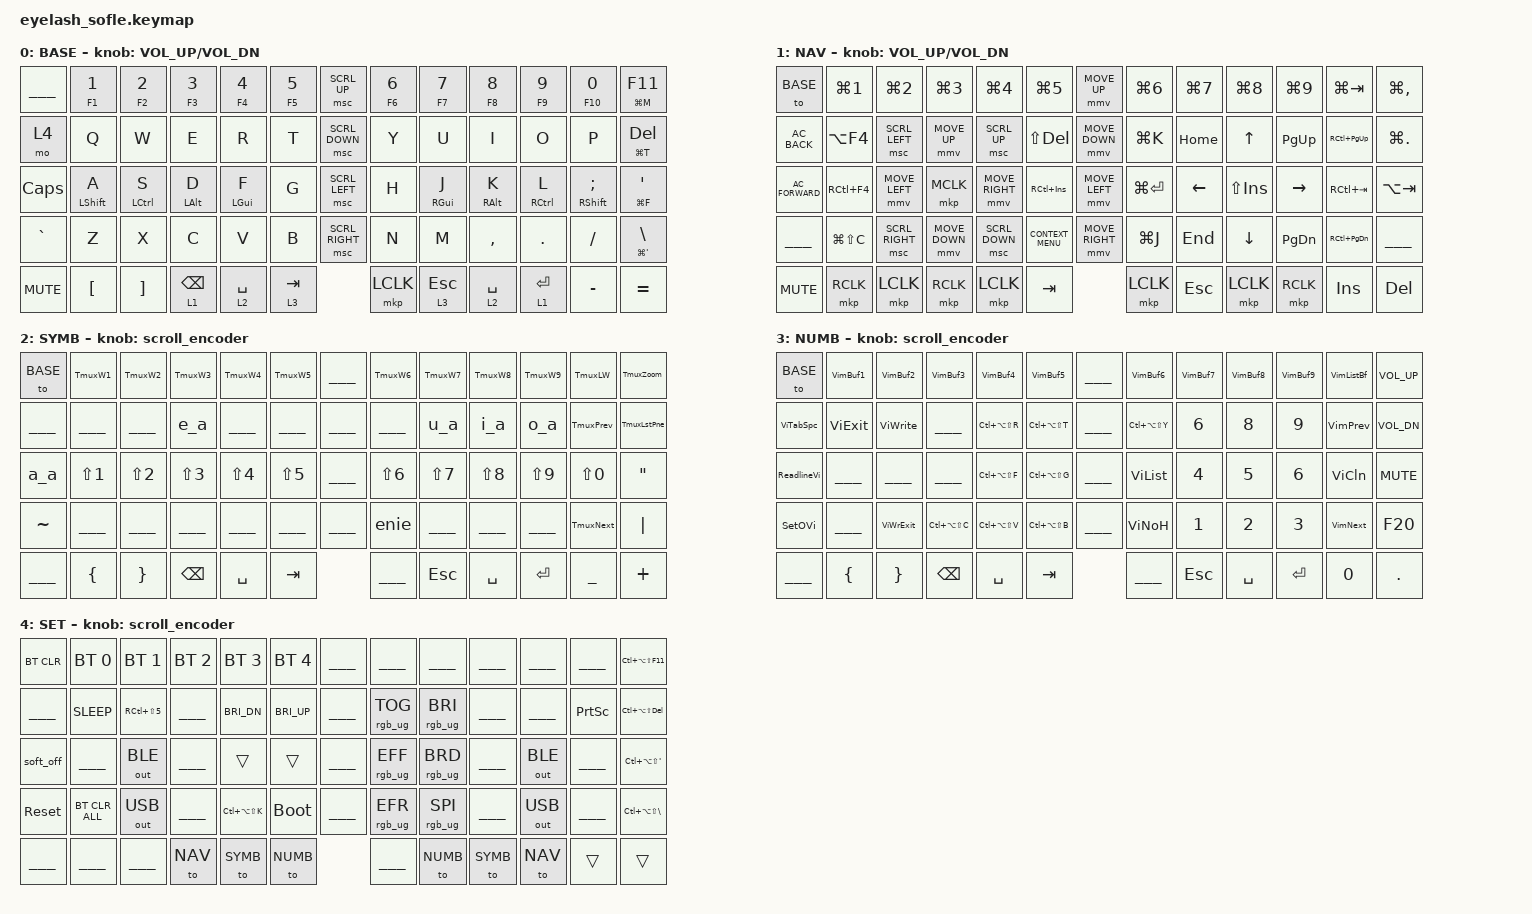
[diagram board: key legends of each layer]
// Nebur
#include <input/processors.dtsi>
#include <zephyr/dt-bindings/input/input-event-codes.h>
#include <behaviors.dtsi>
#include <behaviors/runtime-sensor-rotate.dtsi>
#include <dt-bindings/zmk/bt.h>
#include <dt-bindings/zmk/keys.h>
#include <dt-bindings/zmk/outputs.h>
#include <dt-bindings/zmk/pointing.h>
#include <dt-bindings/zmk/rgb.h>
// no estoy seguro de que sea correcto, pero lo agrego por si acaso:
//#include <dt-bindings/zmk/ext_power.h>


// Para poner una tecla en la configuracion que no toma ninguna accion.
# define ___ none

// Layers:
#define BASE 0
#define NAV 1
#define SYMB 2
#define NUMB 3
#define SET 4

// Mouse:
// Velocidad:
//#define ZMK_POINTING_DEFAULT_MOVE_VAL 1200  // 600
#define ZMK_POINTING_DEFAULT_MOVE_VAL 600
//#define ZMK_POINTING_DEFAULT_SCRL_VAL 25   // 10
#define ZMK_POINTING_DEFAULT_SCRL_VAL 10
&mmv_input_listener { input-processors = <&zip_xy_scaler 2 1>; };
&msc_input_listener { input-processors = <&zip_scroll_scaler 2 1>; };
&msc {
	acceleration-exponent = <1>;      // 0
	time-to-max-speed-ms = <100>;       // 300
	delay-ms = <0>;                   // 0
};
&mmv {
	time-to-max-speed-ms = <500>;
	acceleration-exponent = <1>;
	trigger-period-ms = <16>;
};

// Tiempo que debe mantenerse apreteada la tecla de soft_off para que apague el teclado: 2seg.
&soft_off { hold-time-ms = <2000>; };


/ {

	scroll_encoder: scroll_encoder {
		compatible = "zmk,behavior-sensor-rotate";
		#sensor-binding-cells = <0>;
		bindings = <&msc SCRL_DOWN>, <&msc SCRL_UP>;
		tap-ms = <100>;
	};

	behaviors {
	// https://zmk.dev/docs/keymaps/behaviors/hold-tap

		lt: layer_tap {
			compatible = "zmk,behavior-hold-tap";
			#binding-cells = <2>;
			flavor = "tap-preferred";
			tapping-term-ms = <200>;
			bindings = <&mo>, <&kp>;
			display-name = "Layer-Tap";
		};

		hm: homerow_mods {
			compatible = "zmk,behavior-hold-tap";
			#binding-cells = <2>;
			tapping-term-ms = <200>;
			quick-tap-ms = <0>;
			flavor = "balanced";
			bindings = <&kp>, <&kp>;
		};

		mt: mod_tap {
			compatible = "zmk,behavior-hold-tap";
			#binding-cells = <2>;
			flavor = "hold-preferred";
			tapping-term-ms = <200>;
			bindings = <&kp>, <&kp>;
			display-name = "Mod-Tap";
		};

		// hold and Tap (between Normal keys)
		ht: Hold_tap {
			compatible = "zmk,behavior-hold-tap";
			#binding-cells = <2>;
			flavor = "tap-preferred";
			tapping-term-ms = <200>;
			bindings = <&kp>, <&kp>;
		};
		// Estos venia con el LCD:
		rsr_vol: rsr_vol {
			compatible = "zmk,behavior-runtime-sensor-rotate";
			#sensor-binding-cells = <0>;
			tap-ms = <5>;
			cw-binding = <&kp C_VOL_UP>;
			ccw-binding = <&kp C_VOL_DN>;
		};
		rsr_trans: rsr_trans {
			compatible = "zmk,behavior-runtime-sensor-rotate";
			#sensor-binding-cells = <0>;
			tap-ms = <0>;
		};

	};

	macros {

		TmuxW1: TmuxW1 {
			compatible = "zmk,behavior-macro";
			#binding-cells = <0>;
			bindings =
				<&macro_tap &kp LC(LA(A))>,
				<&macro_tap &kp N1>;
		};
		TmuxW2: TmuxW2 {
			compatible = "zmk,behavior-macro";
			#binding-cells = <0>;
			bindings =
				<&macro_tap &kp LC(LA(A))>,
				<&macro_tap &kp N2>;
		};
		TmuxW3: TmuxW3 {
			compatible = "zmk,behavior-macro";
			#binding-cells = <0>;
			bindings =
				<&macro_tap &kp LC(LA(A))>,
				<&macro_tap &kp N3>;
		};
		TmuxW4: TmuxW4 {
			compatible = "zmk,behavior-macro";
			#binding-cells = <0>;
			bindings =
				<&macro_tap &kp LC(LA(A))>,
				<&macro_tap &kp N4>;
		};
		TmuxW5: TmuxW5 {
			compatible = "zmk,behavior-macro";
			#binding-cells = <0>;
			bindings =
				<&macro_tap &kp LC(LA(A))>,
				<&macro_tap &kp N5>;
		};
		TmuxW6: TmuxW6 {
			compatible = "zmk,behavior-macro";
			#binding-cells = <0>;
			bindings =
				<&macro_tap &kp LC(LA(A))>,
				<&macro_tap &kp N6>;
		};
		TmuxW7: TmuxW7 {
			compatible = "zmk,behavior-macro";
			#binding-cells = <0>;
			bindings =
				<&macro_tap &kp LC(LA(A))>,
				<&macro_tap &kp N7>;
		};
		TmuxW8: TmuxW8 {
			compatible = "zmk,behavior-macro";
			#binding-cells = <0>;
			bindings =
				<&macro_tap &kp LC(LA(A))>,
				<&macro_tap &kp N8>;
		};
		TmuxW9: TmuxW9 {
			compatible = "zmk,behavior-macro";
			#binding-cells = <0>;
			bindings =
				<&macro_tap &kp LC(LA(A))>,
				<&macro_tap &kp N9>;
		};
		TmuxLW: TmuxLW {
			compatible = "zmk,behavior-macro";
			#binding-cells = <0>;
			bindings =
				<&macro_tap &kp LC(LA(A))>,
				<&macro_tap &kp LC(LA(A))>;
		};
		TmuxZoom: TmuxZoom {
			compatible = "zmk,behavior-macro";
			#binding-cells = <0>;
			bindings =
				<&macro_tap &kp LC(LA(A))>,
				<&macro_tap &kp Z>;
		};
		TmuxPrev: TmuxPrev {
			compatible = "zmk,behavior-macro";
			#binding-cells = <0>;
			bindings =
				<&macro_tap &kp LC(LA(A))>,
				<&macro_tap &kp P>;
		};
		TmuxNext: TmuxNext {
			compatible = "zmk,behavior-macro";
			#binding-cells = <0>;
			bindings =
				<&macro_tap &kp LC(LA(A))>,
				<&macro_tap &kp N>;
		};
		TmuxLstPne: TmuxLstPne {
			compatible = "zmk,behavior-macro";
			#binding-cells = <0>;
			bindings =
				<&macro_tap &kp LC(LA(A))>,
				<&macro_tap &kp SEMI>;
		};
		VimBuf1: VimBuf1 {
			compatible = "zmk,behavior-macro";
			#binding-cells = <0>;
			bindings =
				<&macro_tap &kp ESC>,
				<&macro_tap &kp COLON>,
				<&macro_tap &kp B>,
				<&macro_tap &kp N1>,
				<&macro_tap &kp ENTER>;
		};
		VimBuf2: VimBuf2 {
			compatible = "zmk,behavior-macro";
			#binding-cells = <0>;
			bindings =
				<&macro_tap &kp ESC>,
				<&macro_tap &kp COLON>,
				<&macro_tap &kp B>,
				<&macro_tap &kp N2>,
				<&macro_tap &kp ENTER>;
		};
		VimBuf3: VimBuf3 {
			compatible = "zmk,behavior-macro";
			#binding-cells = <0>;
			bindings =
				<&macro_tap &kp ESC>,
				<&macro_tap &kp COLON>,
				<&macro_tap &kp B>,
				<&macro_tap &kp N3>,
				<&macro_tap &kp ENTER>;
		};
		VimBuf4: VimBuf4 {
			compatible = "zmk,behavior-macro";
			#binding-cells = <0>;
			bindings =
				<&macro_tap &kp ESC>,
				<&macro_tap &kp COLON>,
				<&macro_tap &kp B>,
				<&macro_tap &kp N4>,
				<&macro_tap &kp ENTER>;
		};
		VimBuf5: VimBuf5 {
			compatible = "zmk,behavior-macro";
			#binding-cells = <0>;
			bindings =
				<&macro_tap &kp ESC>,
				<&macro_tap &kp COLON>,
				<&macro_tap &kp B>,
				<&macro_tap &kp N5>,
				<&macro_tap &kp ENTER>;
		};
		VimBuf6: VimBuf6 {
			compatible = "zmk,behavior-macro";
			#binding-cells = <0>;
			bindings =
				<&macro_tap &kp ESC>,
				<&macro_tap &kp COLON>,
				<&macro_tap &kp B>,
				<&macro_tap &kp N6>,
				<&macro_tap &kp ENTER>;
		};
		VimBuf7: VimBuf7 {
			compatible = "zmk,behavior-macro";
			#binding-cells = <0>;
			bindings =
				<&macro_tap &kp ESC>,
				<&macro_tap &kp COLON>,
				<&macro_tap &kp B>,
				<&macro_tap &kp N7>,
				<&macro_tap &kp ENTER>;
		};
		VimBuf8: VimBuf8 {
			compatible = "zmk,behavior-macro";
			#binding-cells = <0>;
			bindings =
				<&macro_tap &kp ESC>,
				<&macro_tap &kp COLON>,
				<&macro_tap &kp B>,
				<&macro_tap &kp N8>,
				<&macro_tap &kp ENTER>;
		};
		VimBuf9: VimBuf9 {
			compatible = "zmk,behavior-macro";
			#binding-cells = <0>;
			bindings =
				<&macro_tap &kp ESC>,
				<&macro_tap &kp COLON>,
				<&macro_tap &kp B>,
				<&macro_tap &kp N9>,
				<&macro_tap &kp ENTER>;
		};
		VimPrev: VimPrev {
			compatible = "zmk,behavior-macro";
			#binding-cells = <0>;
			bindings =
				<&macro_tap &kp ESC>,
				<&macro_tap &kp COLON>,
				<&macro_tap &kp B>,
				<&macro_tap &kp P>,
				<&macro_tap &kp ENTER>;
		};
		VimNext: VimNext {
			compatible = "zmk,behavior-macro";
			#binding-cells = <0>;
			bindings =
				<&macro_tap &kp ESC>,
				<&macro_tap &kp COLON>,
				<&macro_tap &kp B>,
				<&macro_tap &kp N>,
				<&macro_tap &kp ENTER>;
		};
		ViWrite: ViWrite {
			compatible = "zmk,behavior-macro";
			#binding-cells = <0>;
			bindings =
				<&macro_tap &kp ESC>,
				<&macro_tap &kp COLON>,
				<&macro_tap &kp U>,
				<&macro_tap &kp P>,
				<&macro_tap &kp ENTER>;
		};
		ViExit: ViExit {
			compatible = "zmk,behavior-macro";
			#binding-cells = <0>;
			bindings =
				<&macro_tap &kp ESC>,
				<&macro_tap &kp COLON>,
				<&macro_tap &kp Q>,
				<&macro_tap &kp EXCLAMATION>,
				<&macro_tap &kp ENTER>;
		};
		ViWrExit: ViWrExit {
			compatible = "zmk,behavior-macro";
			#binding-cells = <0>;
			bindings =
				<&macro_tap &kp ESC>,
				<&macro_tap &kp COLON>,
				<&macro_tap &kp W>,
				<&macro_tap &kp Q>,
				<&macro_tap &kp EXCLAMATION>,
				<&macro_tap &kp ENTER>;
		};
		ViCln: ViCln {
			compatible = "zmk,behavior-macro";
			#binding-cells = <0>;
			bindings =
				<&macro_tap &kp ESC>,
				<&macro_tap &kp COLON>;
		};
		ViList: ViList {
			compatible = "zmk,behavior-macro";
			#binding-cells = <0>;
			bindings =
				<&macro_tap &kp ESC>,
				<&macro_tap &kp COLON>,
				<&macro_tap &kp S>,
				<&macro_tap &kp E>,
				<&macro_tap &kp T>,
				<&macro_tap &kp SPACE>,
				<&macro_tap &kp L>,
				<&macro_tap &kp I>,
				<&macro_tap &kp S>,
				<&macro_tap &kp T>,
				<&macro_tap &kp ENTER>;
		};
		ViNoH: ViNoH      {
			compatible = "zmk,behavior-macro";
			#binding-cells = <0>;
			bindings =
				<&macro_tap &kp ESC>,
				<&macro_tap &kp COLON>,
				<&macro_tap &kp N>,
				<&macro_tap &kp O>,
				<&macro_tap &kp H>,
				<&macro_tap &kp ENTER>;
		};
		VimListBf: VimListBf {
			compatible = "zmk,behavior-macro";
			#binding-cells = <0>;
			bindings =
				<&macro_tap &kp ESC>,
				<&macro_tap &kp COLON>,
				<&macro_tap &kp B>,
				<&macro_tap &kp U>,
				<&macro_tap &kp F>,
				<&macro_tap &kp F>,
				<&macro_tap &kp E>,
				<&macro_tap &kp R>,
				<&macro_tap &kp S>,
				<&macro_tap &kp ENTER>;
		};
		ViTabSpc: ViTabSpc {
			compatible = "zmk,behavior-macro";
			#binding-cells = <0>;
			bindings =
				<&macro_tap &kp ESC>,
				<&macro_tap &kp COLON>,
				<&macro_tap &kp S>,
				<&macro_tap &kp E>,
				<&macro_tap &kp T>,
				<&macro_tap &kp SPACE>,
				<&macro_tap &kp E>,
				<&macro_tap &kp X>,
				<&macro_tap &kp P>,
				<&macro_tap &kp A>,
				<&macro_tap &kp N>,
				<&macro_tap &kp D>,
				<&macro_tap &kp EXCLAMATION>,
				<&macro_tap &kp ENTER>;
		};
		SetOVi: SetOVi {
			compatible = "zmk,behavior-macro";
			#binding-cells = <0>;
			bindings =
				<&macro_tap &kp SPACE>,
				<&macro_tap &kp S>,
				<&macro_tap &kp E>,
				<&macro_tap &kp T>,
				<&macro_tap &kp SPACE>,
				<&macro_tap &kp MINUS>,
				<&macro_tap &kp O>,
				<&macro_tap &kp SPACE>,
				<&macro_tap &kp V>,
				<&macro_tap &kp I>,
				<&macro_tap &kp SEMI>,
				<&macro_tap &kp E>,
				<&macro_tap &kp X>,
				<&macro_tap &kp P>,
				<&macro_tap &kp O>,
				<&macro_tap &kp R>,
				<&macro_tap &kp T>,
				<&macro_tap &kp SPACE>,
				<&macro_press &kp LSHFT>,
				<&macro_tap &kp E>,
				<&macro_tap &kp D>,
				<&macro_tap &kp I>,
				<&macro_tap &kp T>,
				<&macro_tap &kp O>,
				<&macro_tap &kp R>,
				<&macro_release &kp LSHFT>,
				<&macro_tap &kp EQUAL>,
				<&macro_tap &kp V>,
				<&macro_tap &kp I>,
				<&macro_tap &kp ENTER>;
		};

/* no esta funcionando esto..
		SetOVi: SetOVi {
			compatible = "zmk,behavior-macro";
			label = "hello_world";
			#binding-cells = <0>;
			bindings =
				<&macro_text " set -o vi ; export EDITOR=vi ">;
		};
*/

		enie: enie {
			compatible = "zmk,behavior-macro";
			#binding-cells = <0>;
			wait-ms = <10>;
			tap-ms = <10>;
			bindings =
				<&macro_press &kp LCTRL>,
				<&macro_press &kp LSHFT>,
				<&macro_tap &kp U>,
				<&macro_release &kp LSHFT>,
				<&macro_release &kp LCTRL>,
				<&macro_tap &kp N0>,
				<&macro_tap &kp N0>,
				<&macro_tap &kp F>,
				<&macro_tap &kp N1>,
				<&macro_tap &kp ENTER>;
		};
		a_a: a_a {
			compatible = "zmk,behavior-macro";
			#binding-cells = <0>;
			wait-ms = <10>;
			tap-ms = <10>;
			bindings =
				<&macro_press &kp LCTRL>,
				<&macro_press &kp LSHFT>,
				<&macro_tap &kp U>,
				<&macro_release &kp LSHFT>,
				<&macro_release &kp LCTRL>,
				<&macro_tap &kp N0>,
				<&macro_tap &kp N0>,
				<&macro_tap &kp E>,
				<&macro_tap &kp N1>,
				<&macro_tap &kp ENTER>;
		};
		e_a: e_a {
			compatible = "zmk,behavior-macro";
			#binding-cells = <0>;
			wait-ms = <10>;
			tap-ms = <10>;
			bindings =
				<&macro_press &kp LCTRL>,
				<&macro_press &kp LSHFT>,
				<&macro_tap &kp U>,
				<&macro_release &kp LSHFT>,
				<&macro_release &kp LCTRL>,
				<&macro_tap &kp N0>,
				<&macro_tap &kp N0>,
				<&macro_tap &kp E>,
				<&macro_tap &kp N9>,
				<&macro_tap &kp ENTER>;
		};
		i_a: i_a {
			compatible = "zmk,behavior-macro";
			#binding-cells = <0>;
			wait-ms = <10>;
			tap-ms = <10>;
			bindings =
				<&macro_press &kp LCTRL>,
				<&macro_press &kp LSHFT>,
				<&macro_tap &kp U>,
				<&macro_release &kp LSHFT>,
				<&macro_release &kp LCTRL>,
				<&macro_tap &kp N0>,
				<&macro_tap &kp N0>,
				<&macro_tap &kp E>,
				<&macro_tap &kp D>,
				<&macro_tap &kp ENTER>;
		};
		o_a: o_a {
			compatible = "zmk,behavior-macro";
			#binding-cells = <0>;
			wait-ms = <10>;
			tap-ms = <10>;
			bindings =
				<&macro_press &kp LCTRL>,
				<&macro_press &kp LSHFT>,
				<&macro_tap &kp U>,
				<&macro_release &kp LSHFT>,
				<&macro_release &kp LCTRL>,
				<&macro_tap &kp N0>,
				<&macro_tap &kp N0>,
				<&macro_tap &kp F>,
				<&macro_tap &kp N3>,
				<&macro_tap &kp ENTER>;
		};
		u_a: u_a {
			compatible = "zmk,behavior-macro";
			#binding-cells = <0>;
			wait-ms = <10>;
			tap-ms = <10>;
			bindings =
				<&macro_press &kp LCTRL>,
				<&macro_press &kp LSHFT>,
				<&macro_tap &kp U>,
				<&macro_release &kp LSHFT>,
				<&macro_release &kp LCTRL>,
				<&macro_tap &kp N0>,
				<&macro_tap &kp N0>,
				<&macro_tap &kp F>,
				<&macro_tap &kp A>,
				<&macro_tap &kp ENTER>;
		};

		ReadlineVi: ReadlineVi {
			compatible = "zmk,behavior-macro";
			#binding-cells = <0>;
			wait-ms = <10>;
			tap-ms = <10>;
			bindings =
/*
	   echo -e '
		defscrollback 100000
		caption always "%{= kw} %H | %{kc}%?%-Lw%? %{kY}[%n*%f %t%?(%u)%?] %{= kc}%?%+Lw%? %=| %{kc}%{-b}%D, %Y/%m/%d|%{kW}%{+b}%c:%s "'>/tmp/.screenrc;export SCREENRC="/tmp/.screenrc"
*/
				<&macro_tap &kp C>,
				<&macro_tap &kp A>,
				<&macro_tap &kp P>,
				<&macro_tap &kp T>,
				<&macro_tap &kp I>,
				<&macro_tap &kp O>,
				<&macro_tap &kp N>,
				<&macro_tap &kp SPACE>,
				<&macro_tap &kp A>,
				<&macro_tap &kp L>,
				<&macro_tap &kp W>,
				<&macro_tap &kp A>,
				<&macro_tap &kp Y>,
				<&macro_tap &kp S>,
				<&macro_tap &kp SPACE>,
				<&macro_tap &kp DOUBLE_QUOTES>,
				<&macro_tap &kp O>,
				<&macro_tap &kp O>,
				<&macro_tap &kp O>,
				<&macro_press &kp LSHFT>,
				<&macro_tap &kp U>,
				<&macro_tap &kp U>,
				<&macro_tap &kp U>,
				<&macro_tap &kp U>,
				<&macro_release &kp LCTRL>,
				<&macro_tap &kp U>,
				<&macro_tap &kp U>,
				<&macro_tap &kp U>,
				<&macro_tap &kp U>,
				<&macro_tap &kp U>,
				<&macro_tap &kp N0>,
				<&macro_tap &kp N0>,
				<&macro_tap &kp F>,
				<&macro_tap &kp A>,
				<&macro_tap &kp DOUBLE_QUOTES>,
				<&macro_tap &kp ENTER>;
		};



		// Esta vino con el LCD:
		SHIFT_MCLK: SHIFT_MCLK {
			compatible = "zmk,behavior-macro";
			#binding-cells = <0>;
			bindings =
				 <&macro_press>,
				 <&kp LEFT_SHIFT>,
				 <&macro_press>,
				 <&mkp MB3>,
				 <&macro_pause_for_release>,
				 <&macro_release>,
				 <&kp LEFT_SHIFT &mkp MB3>;
			label = "SHIFT_MCLK";
		};

	};



	keymap {
		compatible = "zmk,keymap";

		// Qwerty Layer0:
		layer0 {
			bindings = <
			/* Pendientes Layer0:
			.--------.--------.--------.--------.--------.--------.                                    .--------.--------.--------.---------.--------.--------.
			| Vim_5  |        |        |        |        |        |                                    |        |        |        |         |        |+F11    |
			|        |        |        |        |        |        |                                    |        |        |        |         |        |dwmFull | Este ya deberia estar.
			|--------+--------+--------+--------+--------+--------|                                    |--------+--------+--------+---------+--------+--------|
			|        |        |        |        |        |        |                                    |        |        |        |         |        |+Del    | Este ya deberia estar.
			|        |        |        |        |        |        |                                    |        |        |        |         |        |dwmTiled|
			|--------+--------+--------+--------+--------+--------|                                    |--------+--------+--------+---------+--------+--------|
			|        |        |        |        |        |        |                                    |        |        |        |         |        |+' "    |
			|        |        |        |        |        |        |                                    |        |        |        |         |        |dwmFloat| Ya deberia estar.
			|--------+--------+--------+--------+--------+--------|                                    |--------+--------+--------+---------+--------+--------|
			|        |        |        |        |        |        |                                    |        |        |        |         |        |+\ |    |este ya deberia estar.
			|        |        |        |        |        |        |                                    |        |        |        |         |        |dwmgap  |
			'--------'--------+--------+--------+--------'--------'                                    '--------'--------+--------+---------+--------'--------'
			|                 |        |        |.--------.--------.--------.                .--------.--------.--------.|        |         |
			|                 |        |        ||        |        |        |                |        |        |        ||        |         |
			|                 '--------'--------'|        |        |        |                |        |        |        |'--------'---------'
			|                                    '--------'--------'--------'                '--------'--------'--------' */

			// ╭─────────┬────────────┬────────────────┬─────────────────┬───────────────┬───────────╮             ╭───────────────╮       ╭───────────┬───────────┬──────────┬───────────┬───────────────┬─────────────────╮
				 &___      &ht F1 N1    &ht F2 N2        &ht F3 N3         &ht F4 N4       &ht F5 N5                 &msc SCRL_UP            &ht F6 N6   &ht F7 N7   &ht F8 N8  &ht F9 N9   &ht F10 N0      &ht LG(M) F11
			// ├─────────┼────────────┼────────────────┼─────────────────┼───────────────┼───────────┤             ├───────────────┤       ├───────────┼───────────┼──────────┼───────────┼───────────────┼─────────────────┤
				 &mo 4     &kp Q        &kp W            &kp E             &kp R           &kp T                     &msc SCRL_DOWN          &kp Y       &kp U       &kp I      &kp O       &kp P           &ht LG(T) DELETE
			// ├─────────┼────────────┼────────────────┼─────────────────┼───────────────┼───────────┤             ├───────────────┤       ├───────────┼───────────┼──────────┼───────────┼───────────────┼─────────────────┤
				 &kp CAPS  &hm LSHIFT A &hm LCTRL S      &hm LALT D        &hm LGUI F      &kp G                     &msc SCRL_LEFT          &kp H       &hm RGUI J  &hm RALT K &hm RCTRL L &hm RSHIFT SEMI &ht LG(F) APOS
			// ├─────────┼────────────┼────────────────┼─────────────────┼───────────────┼───────────┤             ├───────────────┤       ├───────────┼───────────┼──────────┼───────────┼───────────────┼─────────────────┤
				 &kp GRAVE &kp Z        &kp X            &kp C             &kp V           &kp B                     &msc SCRL_RIGHT         &kp N       &kp M       &kp COMMA  &kp DOT     &kp FSLH        &ht LG(APOS) BSLH
			// ╰┬────────┴─┬──────────┼────────────────┼─────────────────┼───────────────┼───────────┼─────────╮   ┼──────────╮╭───────────┼───────────┼───────────┼──────────┼───────────┼───────────────┼─────────────────╯
				  &kp C_MUTE            &kp LEFT_BRACKET &kp RIGHT_BRACKET &lt 1 BACKSPACE &lt 2 SPACE &lt 3 TAB     &mkp LCLK    &lt 3 ESC  &lt 2 SPACE &lt 1 ENTER &kp MINUS  &kp EQUAL
			//  ╰──────────╯          ╰────────────────┴─────────────────┴───────────────┴───────────┴─────────╯   ╰──────────╯╰───────────┴───────────┴───────────┴──────────┴───────────╯
			//  ENCODER PRESS                                                                                       HAT PRESS
			>;
			sensor-bindings = <&inc_dec_kp C_VOLUME_UP C_VOL_DN>;
			//display-name = "L0";
			display-name = "BASE";
		};

		// Navigation Layer1:
		layer_1 {
			bindings = <
			/* + _Navegation Layer1: Apps Navigation / dwm (verde) Pendientes:
			.-----------.-----------.-----------.-----------.-----------.-----------.                          .-----------.-----------.-----------.-----------.-----------.-----------.
			|+to_BASE   |           |           |           |           |           |                          |           |           |           |           |           |           |
			|-----------+-----------+-----------+-----------+-----------+-----------|                          |-----------+-----------+-----------+-----------+-----------+-----------|
			|           |           |           |           |           |           |                          |           |           |           |           |           |           |
			|-----------+-----------+-----------+-----------+-----------+-----------|                          |-----------+-----------+-----------+-----------+-----------+-----------|
			|           |           |           |           |           |           |                          |           |           |           |           |           |           |
			|-----------+-----------+-----------+-----------+-----------+-----------|                          |-----------+-----------+-----------+-----------+-----------+-----------|
			|           |           |           |           |           | Menu KC_app|ya deberia estar          |           |           |           |           |           |           |
			'-----------'-----------+-----------+-----------+-----------'-----------'                          '-----------'-----------+-----------+-----------+-----------'-----------'
			|                       |           |           |.-----------.-----------.--------.      .--------.-----------.-----------.|           |           |
			|                       |           |           ||           |           |        |      |        |           |           ||           |           |
			|                       '-----------'-----------'|           |           |        |      |        |           |           |'-----------'-----------'
			|                                                '-----------'-----------'--------'      '--------'-----------'-----------' */
			// Configuracion L1 Row 1
			// ╭────────────────┬─────────────┬───────────────┬──────────────┬───────────────┬──────────────────╮          ╭───────────────╮       ╭──────────────┬─────────────┬──────────────┬─────────────┬───────────────┬─────────────╮
				 &to BASE        &kp LG(N1)    &kp LG(N2)      &kp LG(N3)     &kp LG(N4)      &kp LG(N5)                    &mmv MOVE_UP            &kp LG(N6)     &kp LG(N7)    &kp LG(N8)     &kp LG(N9)    &kp LG(TAB)     &kp LG(COMMA)
			// ├────────────────┼─────────────┼───────────────┼──────────────┼───────────────┼──────────────────┤          ├───────────────┤       ├──────────────┼─────────────┼──────────────┼─────────────┼───────────────┼─────────────┤
				 &kp C_AC_BACK    &kp LA(F4)    &msc SCRL_LEFT  &mmv MOVE_UP   &msc SCRL_UP    &kp LS(DELETE)                &mmv MOVE_DOWN          &kp LG(K)      &kp HOME      &kp UP         &kp PG_UP     &kp RC(PG_UP)   &kp LG(DOT)
			// ├────────────────┼─────────────┼───────────────┼──────────────┼───────────────┼──────────────────┤          ├───────────────┤       ├──────────────┼─────────────┼──────────────┼─────────────┼───────────────┼─────────────┤
				 &kp C_AC_FORWARD &kp RC(F4)    &mmv MOVE_LEFT  &mkp MCLK      &mmv MOVE_RIGHT &kp RC(INSERT)                &mmv MOVE_LEFT          &kp LG(ENTER)  &kp LEFT      &kp LS(INSERT) &kp RIGHT     &kp RC(TAB)     &kp LA(TAB)
			// ├────────────────┼─────────────┼───────────────┼──────────────┼───────────────┼──────────────────┤          ├───────────────┤       ├──────────────┼─────────────┼──────────────┼─────────────┼───────────────┼─────────────┤
				 &___             &kp LG(LS(C)) &msc SCRL_RIGHT &mmv MOVE_DOWN &msc SCRL_DOWN  &kp K_CONTEXT_MENU            &mmv MOVE_RIGHT         &kp LG(J)      &kp END       &kp DOWN       &kp PG_DN     &kp RC(PG_DN)   &___
			// ╰┬─────────────┬─┴─────────────┼───────────────┼──────────────┼───────────────┼──────────────────┼───────╮  ┼──────────╮╭───┴───────┼──────────────┼─────────────┼──────────────┼─────────────┼───────────────┼─────────────╯
				  &kp C_MUTE                    &mkp RCLK       &mkp LCLK      &mkp RCLK       &mkp LCLK          &kp TAB    &mkp LCLK   &kp ESCAPE  &mkp LCLK      &mkp RCLK        &kp INSERT     &kp DELETE
			//  ╰──────────╯                  ╰───────────────┴──────────────┴───────────────┴──────────────────┴───────╯  ╰──────────╯╰───────────┴──────────────┴─────────────┴──────────────┴─────────────╯
			//  ENCODER PRESS                                                                                              HAT PRESS
			>;
			//display-name = "L1";
			display-name = "NAV";
			sensor-bindings = <&inc_dec_kp C_VOLUME_UP C_VOL_DN>;
		};

		// Layer2 Simbolos
		layer_2 {
			bindings = <
			/* + _Symb Layer2: Simbolos / Tmux: (rojo) Pendientes:
			.-------.--------.--------.--------.--------.--------.                               .--------.--------.--------.--------.--------.--------.
			|+to_BASE|+TmuxW1 |+TmuxW2 |+TmuxW3 |+TmuxW4 |+TmuxW5 |                               |+TmuxW6 |+TmuxW7 |+TmuxW8 |+TmuxW9 |+TmuxLW |+TmuxZoom| ya deberian estar.
			|-------+--------+--------+--------+--------+--------|                               |--------+--------+--------+--------+--------+--------|
			|       |        |        |        |        |        |                               |        |        |        |        |+TmuxPrev|+TmuxLstPne| ya deberia estar.
			|-------+--------+--------+--------+--------+--------|                               |--------+--------+--------+--------+--------+--------|
			|       |        |        |        |        |        |                               |        |        |        |        |        |        |
			|-------+--------+--------+--------+--------+--------|                               |--------+--------+--------+--------+--------+--------|
			|       |        |        |        |        |        |                               |        |        |        |        |+TmuxNext|        | ya deberia estar.
			'-------'--------+--------+--------+--------'--------'                               '--------'--------+--------+--------+--------'--------'
			|                |        |        |.--------.--------.--------.           .--------.--------.--------.|        |        |
			|                |        |        ||        |        |        |           |        |        |        ||        |        |
			|                '--------'--------'|        |        |        |           |        |        |        |'--------'--------'
			|                                   '--------'--------'--------'           '--------'--------'--------' */
			// ╭─────────┬────────────┬──────────────┬────────────┬─────────────┬───────────╮            ╭───────────────╮   ╭───────────┬───────────┬───────────┬───────────┬───────────┬─────────────────╮
			    &to BASE      &TmuxW1      &TmuxW2        &TmuxW3      &TmuxW4       &TmuxW5                  &___                &TmuxW6     &TmuxW7     &TmuxW8     &TmuxW9     &TmuxLW     &TmuxZoom
			// ├─────────┼────────────┼──────────────┼────────────┼─────────────┼───────────┤            ├───────────────┤   ├───────────┼───────────┼───────────┼───────────┼───────────┼─────────────────┤
				 &___      &___         &___           &e_a         &___          &___                     &___                &___        &u_a        &i_a        &o_a        &TmuxPrev   &TmuxLstPne
			// ├─────────┼────────────┼──────────────┼────────────┼─────────────┼───────────┤            ├───────────────┤   ├───────────┼───────────┼───────────┼───────────┼───────────┼─────────────────┤
				 &a_a      &kp LS(N1)   &kp LS(N2)     &kp LS(N3)   &kp LS(N4)    &kp LS(N5)               &___                &kp LS(N6)  &kp LS(N7)  &kp LS(N8)  &kp LS(N9)  &kp LS(N0)  &kp DOUBLE_QUOTES
			// ├─────────┼────────────┼──────────────┼────────────┼─────────────┼───────────┤            ├───────────────┤   ├───────────┼───────────┼───────────┼───────────┼───────────┼─────────────────┤
				 &kp TILDE &___         &___           &___         &___          &___                     &___                &enie       &___        &___        &___        &TmuxNext      &kp PIPE
			// ╰┬────────┼────────────┼──────────────┼────────────┼─────────────┼───────────┼────────╮   ┼──────────╮╭───┴───┼───────────┼───────────┼───────────┼───────────┼───────────┴─────────────────╯
				  &___                  &kp LBRC       &kp RBRC     &kp BACKSPACE &kp SPACE   &kp TAB      &___        &kp ESC &kp SPACE   &kp ENTER   &kp UNDER   &kp PLUS
			//  ╰────────╯            ╰──────────────┴────────────┴─────────────┴───────────┴────────╯   ╰──────────╯╰───────┴───────────┴───────────┴───────────┴───────────╯
			//  ENCODER PRESS                                                                                  HAT PRESS
			>;
			display-name = "SYMB";
			sensor-bindings = <&scroll_encoder>;
		};


		// Layer3 NumPad vim
		layer_3 {
			bindings = <
			/* + Layer: Appl Shortcuts Vim / Numeric Pad (celeste)
			.----------.----------.----------.----------.----------.----------.                           .----------.----------.----------.----------.----------.----------.
			|+to_base  | +VimBuf1 | +VimBuf2 | +VimBuf3 | +VimBuf4 | +VimBuf5 |                           | +VimBuf6 | +VimBuf7 | +VimBuf8 | +VimBuf9 |+VimListBf|          |
			|          |          |          |          |          |          |                           |          |          |          |          | <c-l>    |          |
			|----------+----------+----------+----------+----------+----------|                           |----------+----------+----------+----------+----------+----------|
			|+ViTabSpc |+ViExit   |+ViWrite  |          |-Virt App |+Terminal |                           |+Calc     |          |          |          |+VimPrev  |          |
			| ExpandTab| Esc :q!  | Esc :up  |          |          |          |                           |          |          |          |          |          |          |
			|----------+----------+----------+----------+----------+----------|                           |----------+----------+----------+----------+----------+----------|
			|ReadlineVi|          |          |          |+Offi Vim |-Offi WBrw|                           |+ViList   |          |          |          |+ViCln    |          |
			|Screenrc  |          |          |          |          |          |                           | :set list|          |          |          | Esc :    |          |
			|----------+----------+----------+----------+----------+----------|                           |----------+----------+----------+----------+----------+----------|
			|+SetOVi   |          |+ViWrExit |-ClipPad  |+My Vim   |+My WBrw  |                           |+ViNoH    |          |          |          |+VimNext  |          |
			| set -o vi|          | Esc :x!  |          |          |          |                           | Esc :noh |          |          |          |          |          |
			'----------'----------+----------+----------+----------'----------'                           '----------'----------+----------+----------+----------'----------'
			|                     |          |          |.----------.----------.---------.     .---------.----------.----------.|          |          |
			|                     |          |          ||          |          |         |     |         |          |          ||          |          |
			|                     '----------'----------'|          |          |         |     |         |          |          |'----------'----------'
			|                                            '----------'----------'---------'     '---------'----------'----------' */
			// ╭───────────┬────────┬─────────┬─────────────────┬─────────────────┬─────────────────╮          ╭───────────────╮   ╭─────────────────┬─────────┬─────────┬─────────┬───────────┬───────────────╮
				 &to BASE        &VimBuf1 &VimBuf2  &VimBuf3          &VimBuf4          &VimBuf5                     &___                &VimBuf6          &VimBuf7  &VimBuf8  &VimBuf9  &VimListBf  &kp C_VOL_UP
			// ├───────────┼────────┼─────────┼─────────────────┼─────────────────┼─────────────────┤          ├───────────────┤   ├─────────────────┼─────────┼─────────┼─────────┼───────────┼───────────────┤
				 &ViTabSpc   &ViExit   &ViWrite &___              &kp LC(LA(LS(R))) &kp LC(LA(LS(T)))            &___                &kp LC(LA(LS(Y))) &kp N6    &kp N8    &kp N9    &VimPrev    &kp C_VOL_DN
			// ├───────────┼────────┼─────────┼─────────────────┼─────────────────┼─────────────────┤          ├───────────────┤   ├─────────────────┼─────────┼─────────┼─────────┼───────────┼───────────────┤
				 &ReadlineVi &___     &___      &___              &kp LC(LA(LS(F))) &kp LC(LA(LS(G)))            &___                &ViList	          &kp N4    &kp N5    &kp N6    &ViCln      &kp C_MUTE
			// ├───────────┼────────┼─────────┼─────────────────┼─────────────────┼─────────────────┤          ├───────────────┤   ├─────────────────┼─────────┼─────────┼─────────┼───────────┼───────────────┤
				 &SetOVi     &___     &ViWrExit &kp LC(LA(LS(C))) &kp LC(LA(LS(V))) &kp LC(LA(LS(B)))            &___                &ViNoH	          &kp N1    &kp N2    &kp N3    &VimNext    &kp F20	//XF86AudioMicMute
			// ╰┬──────────┼────────┼─────────┼─────────────────┼─────────────────┼─────────────────┼────────╮ ├──────────╮╭───┴───┼─────────────────┼─────────┼─────────┼─────────┼───────────┴───────────────╯
				  &___                &kp LBRC  &kp RBRC          &kp BACKSPACE     &kp SPACE         &kp TAB    &___        &kp ESC &kp SPACE         &kp ENTER &kp N0    &kp DOT
			//  ╰─────╯             ╰─────────┴─────────────────┴─────────────────┴─────────────────┴────────╯ ╰──────────╯╰───────┴─────────────────┴─────────┴─────────┴─────────╯
			//  ENCODER PRESS                                                                                  HAT PRESS
			>;
			display-name = "NUMB";
			sensor-bindings = <&scroll_encoder>;
		};

		// Setup Layer
		layer_4 {
			bindings = <
			/*
			.-----------.-----------.-----------.-----------.-----------.-----------.                                  .-----------.-----------.-----------.-----------.-----------.-----------.
			|+BT_Clear  |+BT_1      |+BT_2      |+BT_3      |+BT_4      |+BT_5      |                                  |           |           |           |           |           | BT Mngr   |
			|-----------+-----------+-----------+-----------+-----------+-----------|                                  |-----------+-----------+-----------+-----------+-----------+-----------|
			|           |-Sleep     |+ScrLock   |           |-Moni BrDn |-Moni BrUp |                                  |+RgbTogle  |+RgbBriUp  |           |           |+Print Scr | NMEditor  |
			|-----------+-----------+-----------+-----------+-----------+-----------|                                  |-----------+-----------+-----------+-----------+-----------+-----------|
			|-SoftOff   |           |-OutBle    |           | Note BrDn | Note BrUp |                                  |+RgbEfectUp|+RgbBriDn  |           |-OutBle    |           | guvcview  |
			|-----------+-----------+-----------+-----------+-----------+-----------|                                  |-----------+-----------+-----------+-----------+-----------+-----------|
			|+SysReset  |-BT_Clear_All|-OutUSB  |           |-RloadHkey |+BootLoader|                                  |+RgbEfectDn|+RgbSPI    |           |-OutUSB    |           | Audio Ctrl|
			'-----------'-----------+-----------+-----------+-----------'-----------'                                  '-----------'-----------+-----------+-----------+-----------'-----------'
			|                       |           |           |.------------------------------------.      .------------.-----------------------.| Windows   | Linux     | Windows/Linux Mode, para cambiar el set de linux a windows.
			|                       |           |           ||+To Nav    |+To Symb   |+to NumPad  |      |+To NumPad  |+To Symb   |+To Nav    ||           |           |
			|                       '-----------'-----------'|           |           |            |      |            |           |           |'-----------'-----------'
			|                                                '-----------'-----------'------------'      '------------'-----------'-----------' */
			// ╭──────────────┬──────────────┬──────────────┬────────────┬─────────────────┬────────────╮                 ╭───────────────╮  ╭───────────────┬───────────────┬──────────┬────────────┬───────────┬───────────────────╮
				 &bt BT_CLR     &bt BT_SEL 0   &bt BT_SEL 1   &bt BT_SEL 2 &bt BT_SEL 3      &bt BT_SEL 4                   &___               &___            &___            &___       &___         &___        &kp LC(LA(LS(F11)))  //  LA(KC_MUTE)
			// ├──────────────┼──────────────┼──────────────┼────────────┼─────────────────┼────────────┤                 ├───────────────┤  ├───────────────┼───────────────┼──────────┼────────────┼───────────┼───────────────────┤
				 &___           &kp C_SLEEP    &kp RC(LS(N5)) &___         &kp C_BRI_DN      &kp C_BRI_UP                   &___               &rgb_ug RGB_TOG &rgb_ug RGB_BRI &___       &___         &kp PSCRN   &kp LC(LA(LS(DELETE)))  //  LS(RC(KC_MUTE))
			// ├──────────────┼──────────────┼──────────────┼────────────┼─────────────────┼────────────┤                 ├───────────────┤  ├───────────────┼───────────────┼──────────┼────────────┼───────────┼───────────────────┤
				 &soft_off      &___           &out OUT_BLE   &___         &trans            &trans                         &___               &rgb_ug RGB_EFF &rgb_ug RGB_BRD &___       &out OUT_BLE &___        &kp LC(LA(LS(APOS)))  //  MEH(KC_MUTE)
			// ├──────────────┼──────────────┼──────────────┼────────────┼─────────────────┼────────────┤                 ├───────────────┤  ├───────────────┼───────────────┼──────────┼────────────┼───────────┼───────────────────┤
				 &sys_reset     &bt BT_CLR_ALL &out OUT_USB   &___         &kp LC(LA(LS(K))) &bootloader                    &___               &rgb_ug RGB_EFR &rgb_ug RGB_SPI &___       &out OUT_USB &___        &kp LC(LA(LS(BSLH)))  //  RC(KC_MUTE)   
			// ╰┬─────────────┼──────────────┼──────────────┼────────────┼─────────────────┼────────────┼─────────────╮   ┼──────────╮╭───┴──┼───────────────┼───────────────┼──────────┼────────────┼───────────┼───────────────────╯
				  &___                         &___           &___         &to NAV           &to SYMB     &to NUMB          &___        &to NUMB &to SYMB      &to NAV         &trans     &trans
			//  ╰────────╯                   ╰──────────────┴────────────┴─────────────────┴────────────┴─────────────╯   ╰──────────╯╰──────┴───────────────┴───────────────┴──────────┴────────────╯
			//  ENCODER PRESS                                                                                       HAT PRESS
			>;
			display-name = "SET";
			sensor-bindings = <&scroll_encoder>;
		};
	};
};
